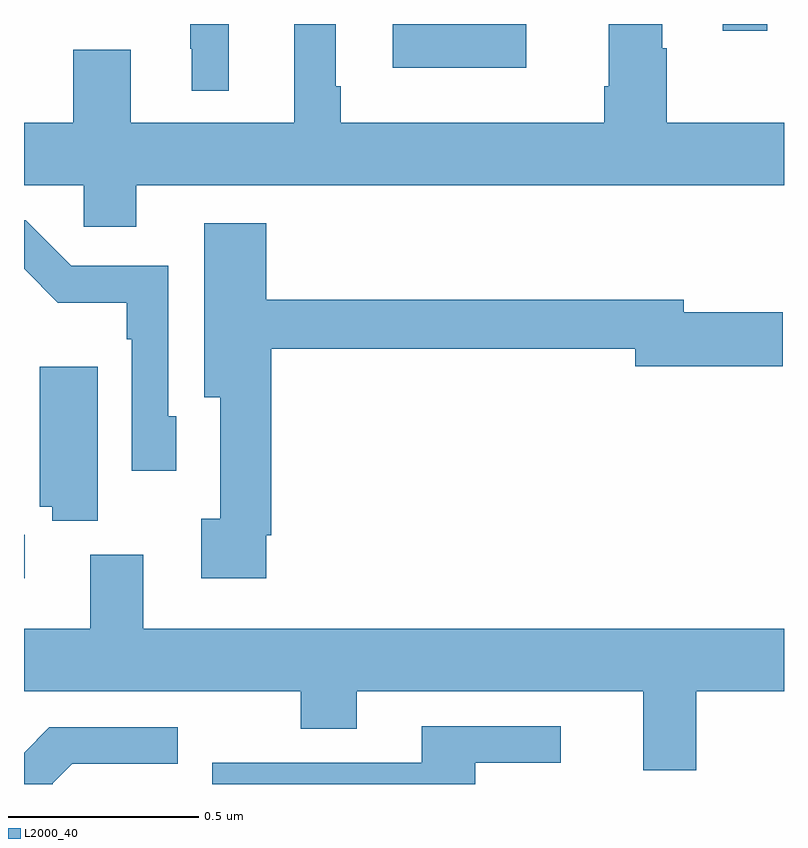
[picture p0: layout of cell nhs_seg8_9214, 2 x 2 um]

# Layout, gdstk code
import gdstk
lib = gdstk.Library(unit=1e-6, precision=1e-09)
def R(c, l, rs):  # rectangles x0, y0, x1, y1
    for r in rs: c.add(gdstk.rectangle(r[:2], r[2:], *l))
def P(c, l, *ps):  # polygons
    for p in ps: c.add(gdstk.Polygon(p, *l))
L2000_40 = (2000, 40)

nhs_seg8_9214 = lib.new_cell('nhs_seg8_9214')
R(nhs_seg8_9214, L2000_40, [(233,1139.441,233.002,1139.556), (233.97,1140.785,234.322,1140.9), (234.839,1140.882,234.956,1140.9)])
P(nhs_seg8_9214, L2000_40, [(233.296,1140.476),(235,1140.476),(235,1140.64),(234.692,1140.64),(234.692,1140.836),(234.679,1140.836),(234.679,1140.9),(234.539,1140.9),(234.539,1140.736),(234.527,1140.736),(234.527,1140.64),(233.834,1140.64),(233.834,1140.736),(233.821,1140.736),(233.821,1140.9),(233.711,1140.9),(233.711,1140.64),(233.281,1140.64),(233.281,1140.832),(233.129,1140.832),(233.129,1140.64),(233,1140.64),(233,1140.476),(233.157,1140.476),(233.157,1140.366),(233.296,1140.366)],
  [(233.539,1140.9),(233.437,1140.9),(233.437,1140.835),(233.441,1140.835),(233.441,1140.725),(233.539,1140.725)],
  [(233.4,1139.868),(233.379,1139.868),(233.379,1140.264),(233.124,1140.264),(233.004,1140.384),(233,1140.384),(233,1140.256),(233.089,1140.167),(233.271,1140.167),(233.271,1140.071),(233.283,1140.071),(233.283,1139.724),(233.4,1139.724)],
  [(233.638,1139.554),(233.651,1139.554),(233.651,1140.046),(234.608,1140.046),(234.608,1139.999),(234.997,1139.999),(234.997,1140.141),(234.736,1140.141),(234.736,1140.175),(233.638,1140.175),(233.638,1140.376),(233.474,1140.376),(233.474,1139.918),(233.516,1139.918),(233.516,1139.598),(233.466,1139.598),(233.466,1139.442),(233.638,1139.442)],
  [(233.194,1139.998),(233.042,1139.998),(233.042,1139.63),(233.074,1139.63),(233.074,1139.593),(233.194,1139.593)],
  [(234.769,1139.144),(235,1139.144),(235,1139.308),(233.314,1139.308),(233.314,1139.503),(233.174,1139.503),(233.174,1139.308),(233,1139.308),(233,1139.144),(233.728,1139.144),(233.728,1139.045),(233.875,1139.045),(233.875,1139.144),(234.629,1139.144),(234.629,1138.936),(234.769,1138.936)],
  [(234.187,1138.956),(234.412,1138.956),(234.412,1139.052),(234.047,1139.052),(234.047,1138.956),(233.496,1138.956),(233.496,1138.9),(234.187,1138.9)],
  [(233.076,1138.902),(233.127,1138.953),(233.404,1138.953),(233.404,1139.049),(233.067,1139.049),(233,1138.982),(233,1138.9),(233.076,1138.9)])

lib.write_gds('nhs_seg8_9214.gds')
